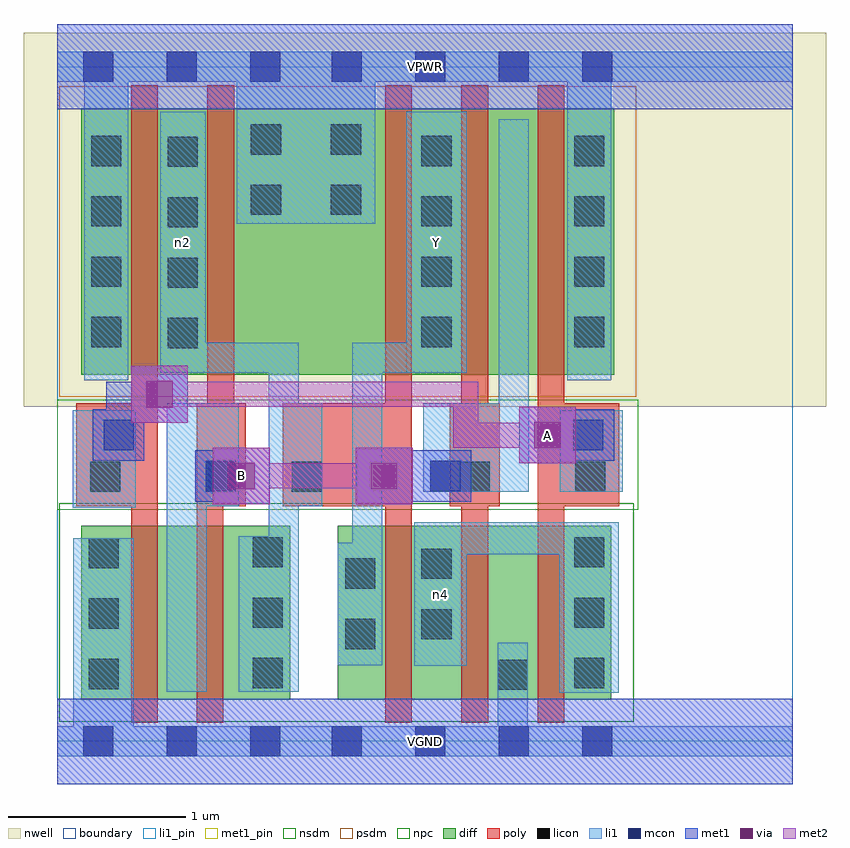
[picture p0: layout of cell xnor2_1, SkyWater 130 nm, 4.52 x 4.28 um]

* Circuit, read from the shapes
.subckt xnor2_1 A B VGND VPWR Y n2 n4
XM1 n1 A VGND VSUBS sky130_fd_pr__nfet_01v8 w=0.98 l=0.15
XM2 n2 B n1 VSUBS sky130_fd_pr__nfet_01v8 w=0.98 l=0.15
XM3 n4 n2 Y VSUBS sky130_fd_pr__nfet_01v8 w=0.98 l=0.15
XM4 VGND B n4 VSUBS sky130_fd_pr__nfet_01v8 w=0.98 l=0.15
XM5 n4 A VGND VSUBS sky130_fd_pr__nfet_01v8 w=0.98 l=0.15
XM6 n2 A VPWR n3 sky130_fd_pr__pfet_01v8 w=1.5 l=0.15
XM7 VPWR B n2 n3 sky130_fd_pr__pfet_01v8 w=1.5 l=0.15
XM8 Y n2 VPWR n3 sky130_fd_pr__pfet_01v8 w=1.5 l=0.15
XM9 n5 B Y n3 sky130_fd_pr__pfet_01v8 w=1.5 l=0.15
XM10 VPWR A n5 n3 sky130_fd_pr__pfet_01v8 w=1.5 l=0.15
.ends

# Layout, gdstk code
import gdstk
lib = gdstk.Library(unit=1e-6, precision=1e-09)
def R(c, l, rs):  # rectangles x0, y0, x1, y1
    for r in rs: c.add(gdstk.rectangle(r[:2], r[2:], *l))
def A(c, l, x, y, w, h, nx, ny, dx, dy):  # array of equal rectangles
    R(c, l, [(x+i*dx, y+j*dy, x+i*dx+w, y+j*dy+h) for i in range(nx) for j in range(ny)])
nwell = (64, 20)
diff = (65, 20)
poly = (66, 20)
licon = (66, 44)
li1_pin = (67, 16)
li1 = (67, 20)
mcon = (67, 44)
met1_pin = (68, 16)
met1 = (68, 20)
via = (68, 44)
met2 = (69, 20)
nsdm = (93, 44)
psdm = (94, 20)
npc = (95, 20)
boundary = (235, 4)

xnor2_1 = lib.new_cell('xnor2_1')
R(xnor2_1, nwell, [(-0.19,1.885,4.33,3.99), (0,1.885,4.14,3.99)])
R(xnor2_1, diff, [(0.135,0.235,1.31,1.215), (1.58,0.235,3.12,1.215), (0.135,2.065,3.135,3.565)])
A(xnor2_1, poly, 1.845, 0.105, 0.15, 3.59, 3, 1, 0.43, 0)
R(xnor2_1, poly, [(0.415,0.105,0.565,3.695), (0.785,0.105,0.935,1.905), (0.105,1.325,0.565,1.905), (0.785,1.325,1.06,1.905), (0.845,1.325,0.995,3.695), (1.27,1.325,1.995,1.905), (2.21,1.325,2.49,1.905), (2.705,1.325,3.165,1.905)])
A(xnor2_1, licon, 0.175, 0.295, 0.17, 0.17, 1, 3, 0, 0.34)
A(xnor2_1, licon, 1.1, 0.3, 0.17, 0.17, 1, 3, 0, 0.34)
A(xnor2_1, licon, 2.91, 0.3, 0.17, 0.17, 1, 3, 0, 0.34)
A(xnor2_1, licon, 0.62, 2.215, 0.17, 0.17, 1, 4, 0, 0.34)
A(xnor2_1, licon, 0.19, 2.22, 0.17, 0.17, 1, 4, 0, 0.34)
A(xnor2_1, licon, 2.05, 2.22, 0.17, 0.17, 1, 4, 0, 0.34)
A(xnor2_1, licon, 2.91, 2.22, 0.17, 0.17, 1, 4, 0, 0.34)
R(xnor2_1, licon, [(2.48,0.29,2.65,0.46), (1.62,0.52,1.79,0.69), (2.05,0.575,2.22,0.745), (1.62,0.86,1.79,1.03), (2.05,0.915,2.22,1.085), (0.185,1.405,0.355,1.575), (0.835,1.405,1.005,1.575), (1.32,1.405,1.49,1.575), (2.265,1.405,2.435,1.575), (2.915,1.405,3.085,1.575), (1.09,2.965,1.26,3.135), (1.54,2.965,1.71,3.135), (1.09,3.305,1.26,3.475), (1.54,3.305,1.71,3.475)])
R(xnor2_1, li1_pin, [(1.965,2.075,2.305,3.545)])
R(xnor2_1, li1, [(0,-0.085,4.14,0.085), (0.09,-0.085,0.43,1.145), (2.48,-0.085,2.65,0.555), (2.825,0.275,3.16,1.235), (0.615,0.28,0.84,1.905), (1.02,0.28,1.36,1.155), (1.19,0.28,1.36,2.245), (2.01,0.425,2.305,1.235), (1.58,0.43,1.83,1.12), (1.66,0.43,1.83,2.245), (2.01,1.055,3.16,1.235), (0.085,1.315,0.44,1.865), (0.615,1.325,1.02,1.905), (1.19,1.325,1.49,1.905), (2.06,1.405,2.655,1.905), (2.485,1.405,2.655,3.505), (2.83,1.405,3.185,1.865), (0.15,2.035,0.4,3.885), (2.87,2.035,3.12,3.885), (0.58,2.075,0.835,3.545), (0.58,2.075,1.36,2.245), (1.66,2.075,2.305,2.245), (1.965,2.075,2.305,3.545), (1.01,2.915,1.79,3.885), (0,3.715,4.14,3.885)])
A(xnor2_1, mcon, 0.145, -0.085, 0.17, 0.17, 3, 2, 0.47, 3.8)
A(xnor2_1, mcon, 1.545, -0.085, 0.17, 0.17, 4, 2, 0.47, 3.8)
R(xnor2_1, mcon, [(0.835,1.41,1.005,1.58), (2.1,1.41,2.27,1.58), (0.26,1.64,0.43,1.81), (2.905,1.64,3.075,1.81)])
R(xnor2_1, met1_pin, [(0,-0.24,4.14,0.24), (0.875,1.335,1.195,1.655), (2.6,1.565,2.92,1.885), (0,3.56,4.14,4.04)])
R(xnor2_1, met1, [(0,-0.24,4.14,0.24), (0.875,1.335,1.195,1.655), (1.68,1.335,2,1.655), (0.775,1.35,1.065,1.64), (2,1.35,2.04,1.64), (2.04,1.35,2.33,1.64), (0.85,1.425,1.105,1.565), (1.77,1.425,2.255,1.565), (2.6,1.565,2.92,1.885), (0.2,1.58,0.49,1.87), (2.845,1.58,3.135,1.87), (0.275,1.655,0.415,2.025), (2.69,1.655,3.06,1.795), (0.415,1.795,0.735,2.115), (0.275,1.87,0.49,1.885), (0.275,1.885,0.645,2.025), (0,3.56,4.14,4.04)])
R(xnor2_1, via, [(0.96,1.42,1.11,1.57), (1.765,1.42,1.915,1.57), (2.685,1.65,2.835,1.8), (0.5,1.88,0.65,2.03)])
R(xnor2_1, met2, [(0.875,1.335,1.195,1.655), (1.68,1.335,2,1.655), (0.965,1.425,1.91,1.565), (2.6,1.565,2.92,1.885), (2.23,1.655,2.83,1.795), (2.23,1.655,2.37,2.025), (0.415,1.795,0.735,2.115), (0.505,1.885,2.37,2.025)])
R(xnor2_1, nsdm, [(0.01,0.11,3.245,1.34)])
R(xnor2_1, psdm, [(0.01,1.94,3.26,3.69)])
R(xnor2_1, npc, [(0,1.305,3.27,1.925)])
R(xnor2_1, boundary, [(0,0,4.14,3.8)])
xnor2_1.add(gdstk.Label('Y', (2.135,2.81), layer=67, texttype=5))
xnor2_1.add(gdstk.Label('n4', (2.157,0.83), layer=67, texttype=5))
xnor2_1.add(gdstk.Label('n2', (0.707,2.81), layer=67, texttype=5))
xnor2_1.add(gdstk.Label('B', (1.035,1.495), layer=68, texttype=5))
xnor2_1.add(gdstk.Label('A', (2.76,1.725), layer=68, texttype=5))
xnor2_1.add(gdstk.Label('VPWR', (2.07,3.8), layer=68, texttype=5))
xnor2_1.add(gdstk.Label('VGND', (2.07,0), layer=68, texttype=5))
xnor2_1.add(gdstk.Label('Y', (2.135,2.81), layer=67, texttype=16))
xnor2_1.add(gdstk.Label('B', (1.035,1.495), layer=68, texttype=16))
xnor2_1.add(gdstk.Label('A', (2.76,1.725), layer=68, texttype=16))
xnor2_1.add(gdstk.Label('VPWR', (2.07,3.8), layer=68, texttype=16))
xnor2_1.add(gdstk.Label('VGND', (2.07,0), layer=68, texttype=16))

lib.write_gds('xnor2_1.gds')
